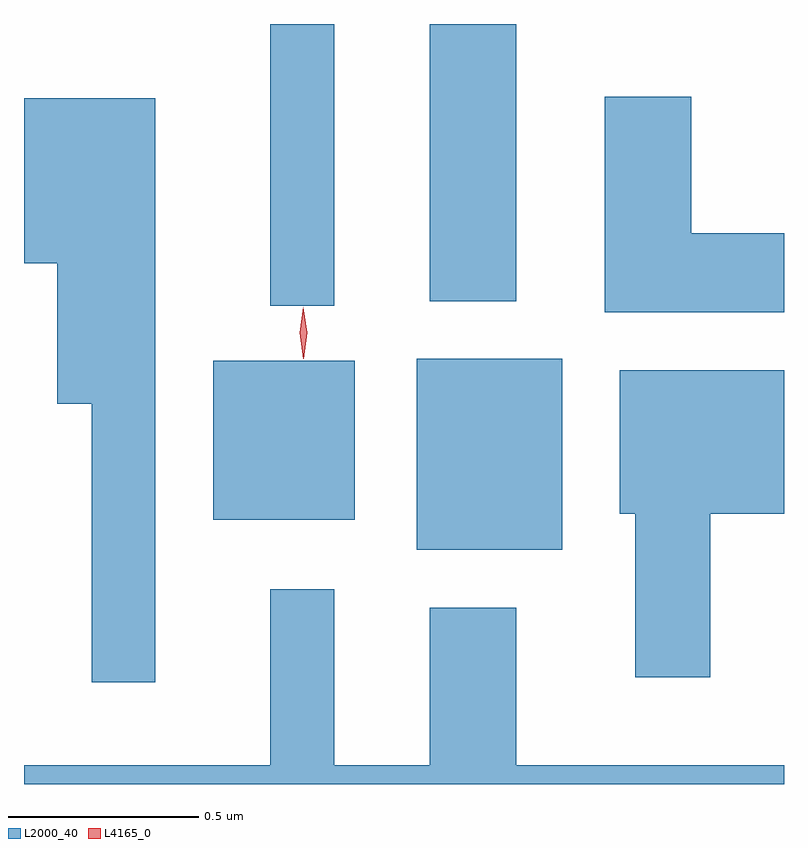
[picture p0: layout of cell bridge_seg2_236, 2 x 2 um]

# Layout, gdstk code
import gdstk
lib = gdstk.Library(unit=1e-6, precision=1e-09)
def R(c, l, rs):  # rectangles x0, y0, x1, y1
    for r in rs: c.add(gdstk.rectangle(r[:2], r[2:], *l))
def P(c, l, *ps):  # polygons
    for p in ps: c.add(gdstk.Polygon(p, *l))
L2000_40 = (2000, 40)
L4165_0 = (4165, 0)

bridge_seg2_236 = lib.new_cell('bridge_seg2_236')
R(bridge_seg2_236, L2000_40, [(526.826,1091.331,527.209,1091.834), (526.291,1091.411,526.664,1091.829), (526.441,1091.973,526.609,1092.715), (526.861,1091.986,527.089,1092.715)])
P(bridge_seg2_236, L2000_40, [(527.793,1092.164),(527.549,1092.164),(527.549,1092.524),(527.321,1092.524),(527.321,1091.956),(527.793,1091.956)],
  [(526.139,1092.519),(525.793,1092.519),(525.793,1092.086),(525.881,1092.086),(525.881,1091.716),(525.971,1091.716),(525.971,1090.983),(526.139,1090.983)],
  [(527.599,1091.426),(527.793,1091.426),(527.793,1091.804),(527.361,1091.804),(527.361,1091.426),(527.401,1091.426),(527.401,1090.996),(527.599,1090.996)],
  [(527.793,1090.764),(527.089,1090.764),(527.089,1091.179),(526.861,1091.179),(526.861,1090.764),(526.609,1090.764),(526.609,1091.228),(526.441,1091.228),(526.441,1090.764),(525.793,1090.764),(525.793,1090.715),(527.793,1090.715)])
P(bridge_seg2_236, L4165_0, [(526.528,1091.834),(526.518,1091.902),(526.528,1091.97),(526.528,1091.97),(526.528,1091.97),(526.538,1091.902),(526.529,1091.834),(526.529,1091.834)],
  [(526.529,1091.838),(526.528,1091.839),(526.518,1091.902),(526.528,1091.966),(526.528,1091.967),(526.528,1091.966),(526.538,1091.903),(526.529,1091.839)])

lib.write_gds('bridge_seg2_236.gds')
